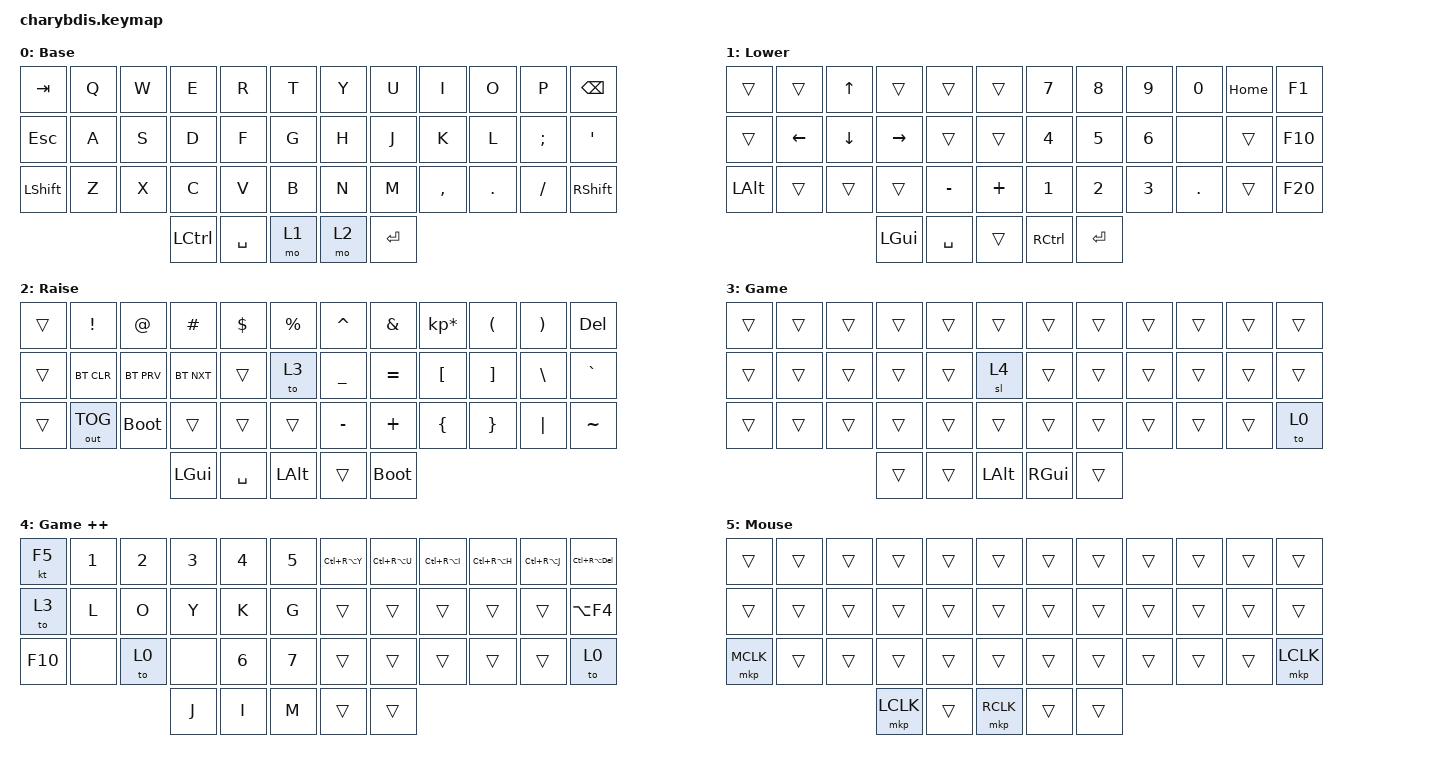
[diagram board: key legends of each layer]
#include <behaviors.dtsi>
#include <dt-bindings/zmk/mouse.h>
#include <dt-bindings/zmk/keys.h>
#include <dt-bindings/zmk/bt.h>
#include <dt-bindings/zmk/outputs.h>
#include <dt-bindings/zmk/keys.h>
#include <behaviors/mouse_keys.dtsi>

&lt {
    tapping-term-ms = <240>;
    flavor = "balanced";
    quick-tap-ms = <150>;
};

/ {
    /* input config for mouse move mode */
    trackball_listener {
        compatible = "zmk,input-behavior-listener";
        device = <&trackball>;
        layers = <0 2 7>;
        evt-type = <INPUT_EV_REL>;
        x-input-code = <INPUT_REL_X>;
        y-input-code = <INPUT_REL_Y>;
        scale-multiplier = <4>;
        scale-divisor = <5>;
        // bindings = <&ib_toggle_layer 7>;
    };

    keymap {
        compatible = "zmk,keymap";

        Base {
            label = "Base";
            bindings = <
  &kp TAB  &kp Q  &kp W      &kp E      &kp R  &kp T    &kp Y    &kp U      &kp I    &kp O     &kp P    &kp BSPC
  &kp ESC  &kp A  &kp S      &kp D      &kp F  &kp G    &kp H    &kp J      &kp K    &kp L  &kp SEMI    &kp APOS
&kp LSHFT  &kp Z  &kp X      &kp C      &kp V  &kp B    &kp N    &kp M  &kp COMMA  &kp DOT  &kp FSLH  &kp RSHIFT
                         &kp LCTRL  &kp SPACE  &mo 1    &mo 2  &kp RET
            >;
        };

        Lower {
            label = "Lower";
            bindings = <
      &trans    &trans    &kp UP     &trans     &trans    &trans       &kp N7   &kp N8  &kp N9   &kp N0  &kp HOME   &kp F1
      &trans  &kp LEFT  &kp DOWN  &kp RIGHT     &trans    &trans       &kp N4   &kp N5  &kp N6    &none    &trans  &kp F10
&kp LEFT_ALT    &trans    &trans     &trans  &kp MINUS  &kp PLUS       &kp N1   &kp N2  &kp N3  &kp DOT    &trans  &kp F20
                                   &kp LGUI  &kp SPACE    &trans    &kp RCTRL  &kp RET
            >;
        };

        Raise {
            label = "Raise";
            bindings = <
&trans      &kp EXCL       &kp AT    &kp HASH   &kp DLLR     &kp PRCNT    &kp CARET   &kp AMPS  &kp KP_MULTIPLY  &kp LPAR  &kp RPAR    &kp DEL
&trans    &bt BT_CLR   &bt BT_PRV  &bt BT_NXT     &trans         &to 3    &kp UNDER  &kp EQUAL         &kp LBKT  &kp RBKT  &kp BSLH  &kp GRAVE
&trans  &out OUT_TOG  &bootloader      &trans     &trans        &trans    &kp MINUS   &kp PLUS         &kp LBRC  &kp RBRC  &kp PIPE  &kp TILDE
                                     &kp LGUI  &kp SPACE  &kp LEFT_ALT       &trans    &bootloader
            >;
        };

        Game {
            label = "Game";
            bindings = <
&trans  &trans  &trans  &trans  &trans        &trans      &trans  &trans  &trans  &trans  &trans  &trans
&trans  &trans  &trans  &trans  &trans         &sl 4      &trans  &trans  &trans  &trans  &trans  &trans
&trans  &trans  &trans  &trans  &trans        &trans      &trans  &trans  &trans  &trans  &trans   &to 0
                        &trans  &trans  &kp LEFT_ALT    &kp RGUI  &trans
            >;
        };

        Game_++ {
            label = "Game ++";
            bindings = <
 &kt F5  &kp NUMBER_1  &kp NUMBER_2  &kp NUMBER_3  &kp NUMBER_4  &kp NUMBER_5    &kp LC(RA(Y))  &kp LC(RA(U))  &kp LC(RA(I))  &kp LC(RA(H))  &kp LC(RA(J))  &kp LC(RA(DEL))
  &to 3         &kp L         &kp O         &kp Y         &kp K         &kp G           &trans         &trans         &trans         &trans         &trans       &kp LA(F4)
&kp F10         &none         &to 0         &none  &kp NUMBER_6  &kp NUMBER_7           &trans         &trans         &trans         &trans         &trans            &to 0
                                            &kp J         &kp I         &kp M           &trans         &trans
            >;
        };

        Mouse {
            bindings = <
   &trans  &trans  &trans     &trans  &trans     &trans    &trans  &trans  &trans  &trans  &trans     &trans
   &trans  &trans  &trans     &trans  &trans     &trans    &trans  &trans  &trans  &trans  &trans     &trans
&mkp MCLK  &trans  &trans     &trans  &trans     &trans    &trans  &trans  &trans  &trans  &trans  &mkp LCLK
                           &mkp LCLK  &trans  &mkp RCLK    &trans  &trans
            >;
        };
    };
};
